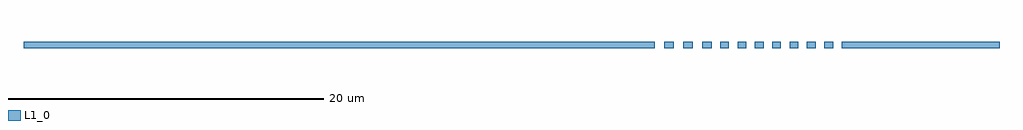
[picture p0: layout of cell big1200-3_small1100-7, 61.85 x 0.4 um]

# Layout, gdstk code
import gdstk
lib = gdstk.Library(unit=1e-6, precision=1e-09)
def R(c, l, rs):  # rectangles x0, y0, x1, y1
    for r in rs: c.add(gdstk.rectangle(r[:2], r[2:], *l))
def A(c, l, x, y, w, h, nx, ny, dx, dy):  # array of equal rectangles
    R(c, l, [(x+i*dx, y+j*dy, x+i*dx+w, y+j*dy+h) for i in range(nx) for j in range(ny)])
L1_0 = (1, 0)

big1200_3_small1100_7 = lib.new_cell('big1200-3_small1100-7')
A(big1200_3_small1100_7, L1_0, 0.6, 0, 0.6, 0.4, 3, 1, 1.2, 0)
A(big1200_3_small1100_7, L1_0, 4.15, 0, 0.55, 0.4, 7, 1, 1.1, 0)
R(big1200_3_small1100_7, L1_0, [(-40,0,0,0.4), (11.85,0,21.85,0.4)])

lib.write_gds('big1200-3_small1100-7.gds')
